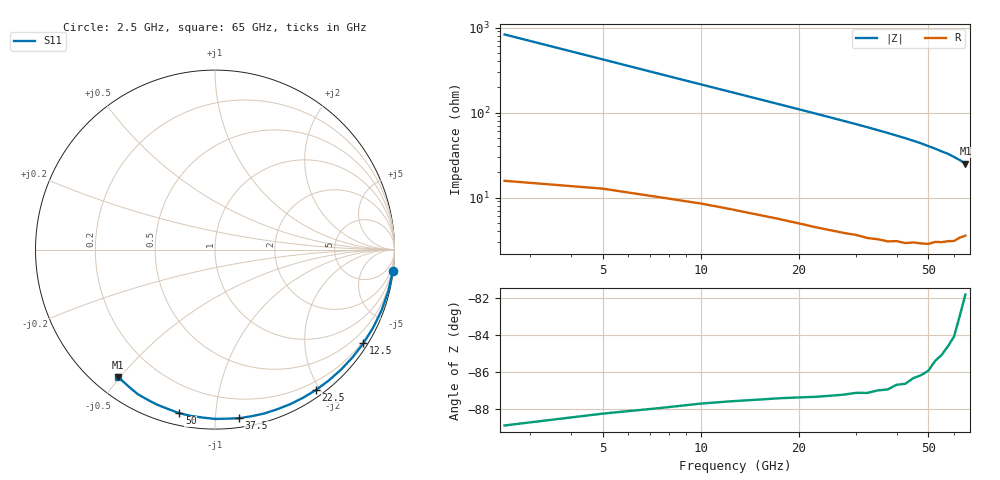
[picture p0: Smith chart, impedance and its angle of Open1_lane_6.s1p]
! File created by SignalIntegrity v1.5.1: Signal and Power Integrity Tools
! https://github.com/Nubis-Communications/SignalIntegrity
# MHz S MA R 50.0
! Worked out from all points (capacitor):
!   26 points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, 2.5 GHz to 65 GHz, reference 50 ohm
!   read as one part to ground: C = 75.4 fF near 2.5 GHz
!   lowest |Z| = 25 ohm at 65 GHz (marker M1)
!   S11 on the Smith chart (normalised r, x): 2.5 GHz: 0, -17; 12.5 GHz: 0.14, -3.46; 22.5 GHz: 0.09, -1.94; 37.5 GHz: 0.06, -1.15; 50 GHz: 0.06, -0.80; 65 GHz: 0.07, -0.50
2500  0.9977 -6.9
5000  0.993 -13.5
7500  0.988 -20.0
10000  0.9826 -26.2
12500  0.9779 -32.2
15000  0.9736 -38.1
17500  0.9696 -43.7
20000  0.9662 -49.1
22500  0.9632 -54.3
25000  0.9603 -59.3
27500  0.9576 -64.2
30000  0.9546 -68.8
32500  0.9534 -73.3
35000  0.9503 -77.7
37500  0.9489 -81.9
40000  0.9443 -86.1
42500  0.9432 -90.1
45000  0.9384 -94.1
47500  0.9362 -98.1
50000  0.9332 -102.3
52500  0.9259 -106.2
55000  0.9225 -110.2
57500  0.9175 -113.8
60000  0.913 -118.2
62500  0.9012 -122.5
65000  0.892 -127.1
